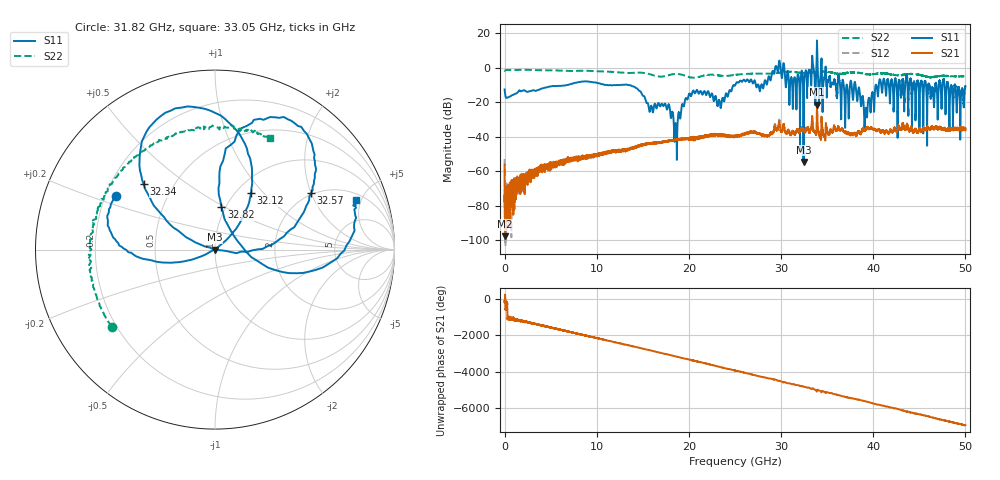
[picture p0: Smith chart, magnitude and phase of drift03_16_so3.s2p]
!Created with skrf (http://scikit-rf.org).
# Hz S RI R 50.0
!freq ReS11 ImS11 ReS21 ImS21 ReS12 ImS12 ReS22 ImS22
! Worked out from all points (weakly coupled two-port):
!   10001 points, 300 kHz to 50 GHz, reference 50 ohm
!   highest |S21| = -21.45 dB at 33.9 GHz (marker M1); lowest = -97.7 dB at 50.3 MHz (marker M2)
!   lowest |S11| = -54.7 dB at 32.44 GHz (marker M3), VSWR 1.00, Z = 49.8 - j0.105 ohm
!   |S11| at or under -10 dB: start of sweep to 6.948 GHz; 13.31 GHz to 25.05 GHz (11.74 GHz wide, 61.2 % of centre); 38.07 GHz to 40.28 GHz (2.204 GHz wide, 5.63 % of centre) (the widest 3 of 57)
!   |S22| runs from -6.0 to -1.3 dB; largest |S21 - S12| = 0.008
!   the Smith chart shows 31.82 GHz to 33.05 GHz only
!   S11 on the Smith chart (normalised r, x): 31.82 GHz: 0.24, +0.24; 32.12 GHz: 1.16, +0.86; 32.34 GHz: 0.34, +0.35; 32.57 GHz: 1.96, +2.00; 32.82 GHz: 0.96, +0.48; 33.05 GHz: 2.46, +4.53
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300000  -0.211 -0.0962  -0.00124 -0.000902  -0.000765 0.00212  -0.7673 -0.1847
5.02997e7  -0.1645 0.0595  -1.06e-05 7.74e-06  4.57e-05 9.53e-05  -0.8264 0.0538
1.530291e9  0.2028 0.0456  -0.000274 -0.000479  -0.000136 -0.000304  0.8484 0.0847
3.160281e9  -0.2188 -0.00859  3.87e-05 0.001  0.000215 0.000889  -0.8441 -0.0244
4.665272e9  0.2635 0.0612  -0.000372 -0.00128  7.64e-05 -0.00127  0.8183 0.141
8.33525e9  0.2836 -0.2674  -0.00213 -0.000778  -0.0023 -0.000886  0.6002 -0.5365
9.585242e9  -0.371 -0.0403  0.00109 0.00246  0.00152 0.0023  -0.7862 -0.0775
1.123023e10  0.3052 0.032  -0.00223 -0.00269  -0.0021 -0.00275  0.7556 0.0408
1.66702e10  0.0544 0.0759  0.00442 -0.00484  0.00462 -0.00487  -0.3543 0.4202
2.500015e10  -0.2967 -0.0469  0.00804 0.00621  0.0075 0.00629  -0.1889 -0.5811
3.050512e10  0.2554 -0.0882  -0.00242 0.0132  -0.003 0.0128  0.7404 -0.0614
3.181511e10  -0.5494 0.3013  0.0116 -0.0108  0.0114 -0.00955  -0.5761 -0.4308
3.212011e10  0.2018 0.3166  -7.03e-05 -0.0153  -0.000269 -0.015  -0.688 0.000289
3.233511e10  -0.3974 0.3642  -0.00367 -0.0144  -0.0035 -0.0149  -0.6093 0.3061
3.243511e10  -0.00151 -0.00105  -0.0091 -0.0117  -0.0092 -0.0122  -0.5271 0.4382
3.25701e10  0.5354 0.3134  -0.00972 -0.00931  -0.01 -0.00946  -0.3697 0.5713
3.28151e10  0.0359 0.2366  -0.0165 -0.00268  -0.0164 -0.0027  -0.0228 0.6835
3.30451e10  0.7869 0.279  -0.0137 0.0014  -0.0135 0.00172  0.3066 0.6208
3.33351e10  0.4552 -0.9872  -0.00537 0.0248  -0.00557 0.0247  0.6147 0.3636
3.38951e10  -1.023 -5.982  0.0842 0.00887  0.079 0.00327  0.6724 -0.3256
4.167005e10  -0.2105 0.2822  -0.0116 -0.00408  -0.0117 -0.00474  -0.6474 -0.0532
5e10  -0.1496 -0.2423  0.0019 -0.0172  0.000633 -0.0168  0.4633 -0.3211
